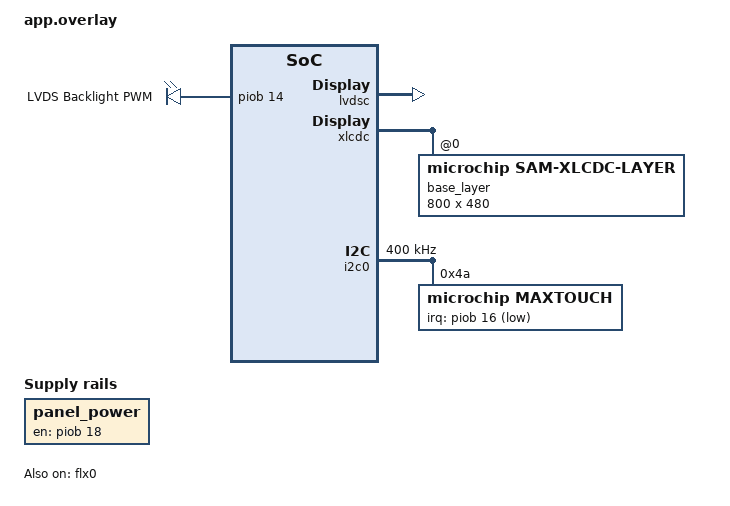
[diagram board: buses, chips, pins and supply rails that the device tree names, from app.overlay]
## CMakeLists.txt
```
target_sources(app PRIVATE src/main.c)
```

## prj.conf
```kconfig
# Enable Logging
CONFIG_LOG=y
#CONFIG_LOG_MODE_IMMEDIATE=y
CONFIG_DISPLAY_LOG_LEVEL_INF=y

# Enable Display Subsystem
CONFIG_DISPLAY=y

# Enable XLCDC driver
CONFIG_DISPLAY_MICROCHIP_SAM_XLCDC=y
CONFIG_DISPLAY_MICROCHIP_SAM_XLCDC_LAYER=y

# Enable LVDSC bridge driver
CONFIG_DISPLAY_MICROCHIP_SAM_LVDSC=y

# Kernel VM must cover heap (16MB) + kernel code/data/stacks
CONFIG_KERNEL_VM_SIZE=0x2000000

# Main thread stack for LVGL rendering (default is too small)
CONFIG_MAIN_STACK_SIZE=16384

# Enable double-buffering for tear-free display
CONFIG_MICROCHIP_SAM_XLCDC_DOUBLE_BUFFER=y

# Heap for dynamic framebuffer allocation (base layer RGB565 x 2 buffers)
CONFIG_HEAP_MEM_POOL_SIZE=4194304

# FLEXCOM MFD (sets FLEX_MR to TWI/SPI/USART mode)
CONFIG_MFD=y

# Panel power regulator (PB18 enable before touch init)
CONFIG_REGULATOR=y

# Input / Touch
CONFIG_INPUT=y
CONFIG_INPUT_MODE_SYNCHRONOUS=y

# LVGL (zero-copy: LVGL owns buffers, driver pointer-swaps DMA address)
CONFIG_LVGL=y
CONFIG_LV_Z_FULL_REFRESH=y
CONFIG_LV_Z_VDB_SIZE=100
CONFIG_LV_Z_DOUBLE_VDB=y
CONFIG_LV_Z_FLUSH_THREAD=y
CONFIG_LV_Z_MEM_POOL_SIZE=524288
CONFIG_LV_COLOR_DEPTH_16=y
CONFIG_LV_DPI_DEF=128
CONFIG_LV_FONT_MONTSERRAT_14=y
CONFIG_LV_FONT_MONTSERRAT_20=y
CONFIG_LV_FONT_MONTSERRAT_28=y
```

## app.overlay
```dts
#include <zephyr/dt-bindings/gpio/gpio.h>
#include <zephyr/dt-bindings/interrupt-controller/arm-gic.h>
#include <zephyr/dt-bindings/i2c/i2c.h>
#include <zephyr/dt-bindings/mfd/mfd_mchp_sam_flexcom.h>

&pinctrl {
    flx0_i2c_default: flx0_i2c_default {
        group1 {
            pinmux = <PIN_PC7__FLEXCOM0_IO0>,  /* SDA */
                     <PIN_PC6__FLEXCOM0_IO1>;  /* SCL */
            bias-pull-up;
        };
    };
};

&flx0 {
    mchp,flexcom-mode = <SAM_FLEXCOM_MODE_TWI>;
    status = "okay";

    i2c0: i2c0@600 {
        pinctrl-0 = <&flx0_i2c_default>;
        pinctrl-names = "default";
        clock-frequency = <I2C_BITRATE_FAST>;
        status = "okay";

        maxtouch: maxtouch@4a {
            compatible = "microchip,maxtouch";
            reg = <0x4a>;
            irq-gpios = <&piob 16 GPIO_ACTIVE_LOW>;
            screen-width = <800>;
            screen-height = <480>;
            max-touches = <5>;
            startup-delay-ms = <100>;
        };
    };
};

/ {
    chosen {
        zephyr,display = &base_layer;
        zephyr,touch = &maxtouch;
    };
    panel_power: panel-power {
        compatible = "regulator-fixed";
        regulator-name = "panel-power";
        enable-gpios = <&piob 18 GPIO_ACTIVE_HIGH>;
        regulator-boot-on;
    };

    leds {
        compatible = "gpio-leds";

        gpio_lvds_pwm: led_piob_14 {
            gpios = <&piob 14 GPIO_ACTIVE_HIGH>;
            label = "LVDS Backlight PWM";
        };
    };

    lvdsc: lvdsc@e1408000 {
        compatible = "microchip,sam-lvdsc";
        status = "okay";
        reg = <0xe1408000 0x4000>;
        dpi-input-type = "24-bit";
        dc-mode = "unbalanced";
        mapping = "jeida";
        lane-a3-bit = <0>;
        dc-bias = <9>;
        pre-emphasis-clk = <0>;
        pre-emphasis-a0 = <0>;
        pre-emphasis-a1 = <0>;
        pre-emphasis-a2 = <0>;
        pre-emphasis-a3 = <0>;
    };

    xlcdc: xlcdc@e1400000 {
        compatible = "microchip,sama7d65-xlcdc";
        status = "okay";
        reg = <0xe1400000 0x4000>;
        interrupt-parent = <&gic>;
        interrupts = <GIC_SPI 56 IRQ_TYPE_LEVEL IRQ_DEFAULT_PRIORITY>;
        #address-cells = <1>;
        #size-cells = <0>;
        width = <800>;
        height = <480>;
        pixel-format = <3>;        /* RGB_565 */
        output-mode = "dpi-24";
        guard-time = <1>;
        backlight-pwm-source = "slow-clock";
        backlight-pwm-prescaler = <0>;
        backlight-brightness = <255>;
        port = <&lvdsc>;

        display-timings {
            compatible = "zephyr,panel-timing";
            clock-frequency = <25000000>;
            hsync-len = <5>;
            hfront-porch = <88>;
            hback-porch = <40>;
            vsync-len = <5>;
            vfront-porch = <23>;
            vback-porch = <1>;
            de-active = <0>;
            hsync-active = <1>;
            vsync-active = <1>;
            pixelclk-active = <0>;
        };

        base_layer: layer-base@0 {
            compatible = "microchip,sam-xlcdc-layer";
            reg = <0>;
            layer-type = "base";
            width = <800>;
            height = <480>;
            default-color = <0 0 0>;
            no-alloc-framebuffer;
        };
    };
};
```

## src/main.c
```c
/*
 * Copyright (c) 2026 Microchip Technology Inc.
 * SPDX-License-Identifier: Apache-2.0
 *
 * LCDC POC application with two tabs:
 *   1. LVGL widget demo (button counter, arc, slider)
 *   2. Multitouch visualizer using raw input events
 */

#include <zephyr/device.h>
#include <zephyr/drivers/display.h>
#include <zephyr/drivers/gpio.h>
#include <zephyr/input/input.h>
#include <zephyr/kernel.h>
#include <zephyr/logging/log.h>

#include <lvgl.h>

LOG_MODULE_REGISTER(main_app, LOG_LEVEL_INF);

#define MAX_TOUCHES 10
#define INDICATOR_SIZE 70
#define TAB_BAR_HEIGHT 50

static const struct gpio_dt_spec lvds_pwm =
	GPIO_DT_SPEC_GET(DT_NODELABEL(gpio_lvds_pwm), gpios);

#define TOUCH_DEV DEVICE_DT_GET(DT_CHOSEN(zephyr_touch))

/* Demo tab state */

static lv_obj_t *counter_label;
static lv_obj_t *arc_obj;
static lv_obj_t *arc_label;
static uint32_t counter;

/* Touch tab state */

struct touch_point {
	int32_t x;
	int32_t y;
	bool active;
};

static struct {
	struct touch_point points[MAX_TOUCHES];
	int32_t current_slot;
	int32_t pending_x;
	int32_t pending_y;
	bool has_x;
	bool has_y;
} touch_state;

struct touch_indicator {
	lv_obj_t *circle;
	lv_obj_t *id_label;
	lv_obj_t *coord_label;
};

static struct touch_indicator indicators[MAX_TOUCHES];
static lv_obj_t *touch_tab_obj;
static lv_obj_t *count_label;
static lv_obj_t *max_label;
static lv_obj_t *hint_label;
static lv_obj_t *hold_btn;
static bool hold_mode;
static uint8_t max_touches;

static const lv_color_t slot_colors[] = {
	LV_COLOR_MAKE(231, 76, 60),   /* Red */
	LV_COLOR_MAKE(46, 204, 113),  /* Green */
	LV_COLOR_MAKE(52, 152, 219),  /* Blue */
	LV_COLOR_MAKE(241, 196, 15),  /* Yellow */
	LV_COLOR_MAKE(155, 89, 182),  /* Purple */
	LV_COLOR_MAKE(230, 126, 34),  /* Orange */
	LV_COLOR_MAKE(26, 188, 156),  /* Teal */
	LV_COLOR_MAKE(236, 240, 241), /* White */
	LV_COLOR_MAKE(52, 73, 94),    /* Dark */
	LV_COLOR_MAKE(149, 165, 166), /* Gray */
};

/* Multitouch input event callback */

static void touch_input_cb(struct input_event *evt, void *user_data)
{
	ARG_UNUSED(user_data);

	switch (evt->type) {
	case INPUT_EV_ABS:
		switch (evt->code) {
		case INPUT_ABS_MT_SLOT:
			if (evt->value >= 0 && evt->value < MAX_TOUCHES) {
				touch_state.current_slot = evt->value;
			}
			touch_state.has_x = false;
			touch_state.has_y = false;
			break;
		case INPUT_ABS_X:
			touch_state.pending_x = evt->value;
			touch_state.has_x = true;
			break;
		case INPUT_ABS_Y:
			touch_state.pending_y = evt->value;
			touch_state.has_y = true;
			break;
		default:
			break;
		}
		break;

	case INPUT_EV_KEY:
		if (evt->code == INPUT_BTN_TOUCH) {
			int32_t slot = touch_state.current_slot;

			if (slot < 0 || slot >= MAX_TOUCHES) {
				break;
			}

			if (evt->value) {
				if (touch_state.has_x) {
					touch_state.points[slot].x =
						touch_state.pending_x;
				}
				if (touch_state.has_y) {
					touch_state.points[slot].y =
						touch_state.pending_y;
				}
				touch_state.points[slot].active = true;
			} else {
				touch_state.points[slot].active = false;
			}
		}
		break;

	default:
		break;
	}
}

INPUT_CALLBACK_DEFINE(TOUCH_DEV, touch_input_cb, NULL);

/* Demo tab */

static void btn_event_cb(lv_event_t *e)
{
	counter++;
	lv_label_set_text_fmt(counter_label, "Count: %u", counter);
}

static void arc_event_cb(lv_event_t *e)
{
	int32_t val = lv_arc_get_value(arc_obj);

	lv_label_set_text_fmt(arc_label, "%d%%", val);
	lv_obj_align_to(arc_label, arc_obj, LV_ALIGN_CENTER, 0, 0);
}

static void create_demo_tab(lv_obj_t *parent)
{
	/* Title label */
	lv_obj_t *title = lv_label_create(parent);

	lv_label_set_text(title, "LVGL on Zephyr");
	lv_obj_set_style_text_font(title, &lv_font_montserrat_28, 0);
	lv_obj_align(title, LV_ALIGN_TOP_MID, 0, 10);

	/* Info label */
	lv_obj_t *info = lv_label_create(parent);

	lv_label_set_text(info,
			  "SAMA7D65 Curiosity Kit with AC69T88A LVDS Display");
	lv_obj_set_style_text_font(info, &lv_font_montserrat_14, 0);
	lv_obj_align(info, LV_ALIGN_TOP_MID, 0, 48);

	/* Counter button */
	lv_obj_t *btn = lv_btn_create(parent);

	lv_obj_set_size(btn, 200, 60);
	lv_obj_align(btn, LV_ALIGN_CENTER, 0, -20);
	lv_obj_add_event_cb(btn, btn_event_cb, LV_EVENT_CLICKED, NULL);

	lv_obj_t *btn_label = lv_label_create(btn);

	lv_label_set_text(btn_label, "Tap Me");
	lv_obj_set_style_text_font(btn_label, &lv_font_montserrat_20, 0);
	lv_obj_center(btn_label);

	/* Counter display */
	counter_label = lv_label_create(parent);
	lv_label_set_text(counter_label, "Count: 0");
	lv_obj_set_style_text_font(counter_label, &lv_font_montserrat_20, 0);
	lv_obj_align(counter_label, LV_ALIGN_CENTER, 0, 30);

	/* Arc widget */
	arc_obj = lv_arc_create(parent);
	lv_arc_set_range(arc_obj, 0, 100);
	lv_arc_set_value(arc_obj, 70);
	lv_obj_set_size(arc_obj, 180, 180);
	lv_obj_set_ext_click_area(arc_obj, 20);
	lv_obj_align(arc_obj, LV_ALIGN_BOTTOM_LEFT, 40, -20);
	lv_obj_add_event_cb(arc_obj, arc_event_cb,
			    LV_EVENT_VALUE_CHANGED, NULL);

	/* Arc percentage label */
	arc_label = lv_label_create(parent);
	lv_label_set_text(arc_label, "70%");
	lv_obj_set_style_text_font(arc_label, &lv_font_montserrat_20, 0);
	lv_obj_align_to(arc_label, arc_obj, LV_ALIGN_CENTER, 0, 0);

	/* Brightness slider */
	lv_obj_t *slider = lv_slider_create(parent);

	lv_slider_set_range(slider, 0, 255);
	lv_slider_set_value(slider, 128, LV_ANIM_OFF);
	lv_obj_set_width(slider, 280);
	lv_obj_set_ext_click_area(slider, 20);

	lv_obj_update_layout(parent);
	int32_t arc_cy = lv_obj_get_y(arc_obj) +
			 lv_obj_get_height(arc_obj) / 2;
	int32_t slider_h = lv_obj_get_height(slider);
	int32_t parent_cw = lv_obj_get_content_width(parent);

	lv_obj_set_pos(slider,
		       parent_cw - 40 - 280,
		       arc_cy - slider_h / 2);

	lv_obj_t *slider_label = lv_label_create(parent);

	lv_label_set_text(slider_label, "Brightness");
	lv_obj_set_style_text_font(slider_label, &lv_font_montserrat_14, 0);
	lv_obj_align_to(slider_label, slider, LV_ALIGN_OUT_BOTTOM_MID,
			0, 8);
}

/* Touch tab */

static void hold_btn_cb(lv_event_t *e)
{
	hold_mode = !hold_mode;

	lv_obj_t *label = lv_obj_get_child(hold_btn, 0);

	if (hold_mode) {
		lv_label_set_text(label, "Hold: ON");
	} else {
		lv_label_set_text(label, "Hold: OFF");
		max_touches = 0;
	}
}

static void create_touch_tab(lv_obj_t *parent)
{
	touch_tab_obj = parent;
	lv_obj_set_style_pad_all(parent, 0, 0);

	/* Title */
	lv_obj_t *title = lv_label_create(parent);

	lv_label_set_text(title, "Multitouch Test");
	lv_obj_set_style_text_font(title, &lv_font_montserrat_28, 0);
	lv_obj_align(title, LV_ALIGN_TOP_MID, 0, 10);

	/* Touch count labels */
	count_label = lv_label_create(parent);
	lv_label_set_text(count_label, "Active: 0");
	lv_obj_set_style_text_font(count_label, &lv_font_montserrat_20, 0);
	lv_obj_align(count_label, LV_ALIGN_TOP_MID, -60, 45);

	max_label = lv_label_create(parent);
	lv_label_set_text(max_label, "Max: 0");
	lv_obj_set_style_text_font(max_label, &lv_font_montserrat_20, 0);
	lv_obj_align(max_label, LV_ALIGN_TOP_MID, 60, 45);

	/* Hint */
	hint_label = lv_label_create(parent);
	lv_label_set_text(hint_label, "Touch the screen with 1..10 fingers");
	lv_obj_set_style_text_font(hint_label, &lv_font_montserrat_14, 0);
	lv_obj_set_style_text_opa(hint_label, LV_OPA_50, 0);
	lv_obj_align(hint_label, LV_ALIGN_TOP_MID, 0, 72);

	/* Hold toggle button */
	hold_btn = lv_btn_create(parent);
	lv_obj_set_size(hold_btn, 120, 40);
	lv_obj_align(hold_btn, LV_ALIGN_BOTTOM_MID, 0, -10);
	lv_obj_add_event_cb(hold_btn, hold_btn_cb, LV_EVENT_CLICKED, NULL);

	lv_obj_t *btn_label = lv_label_create(hold_btn);

	lv_label_set_text(btn_label, "Hold: OFF");
	lv_obj_center(btn_label);

	/* Pre-allocate indicator objects for each slot */
	for (int i = 0; i < MAX_TOUCHES; i++) {
		struct touch_indicator *ind = &indicators[i];

		ind->circle = lv_obj_create(parent);
		lv_obj_set_size(ind->circle, INDICATOR_SIZE, INDICATOR_SIZE);
		lv_obj_set_style_radius(ind->circle, LV_RADIUS_CIRCLE, 0);
		lv_obj_set_style_bg_color(ind->circle, slot_colors[i], 0);
		lv_obj_set_style_bg_opa(ind->circle, LV_OPA_80, 0);
		lv_obj_set_style_border_color(ind->circle,
					      lv_color_white(), 0);
		lv_obj_set_style_border_width(ind->circle, 2, 0);
		lv_obj_clear_flag(ind->circle,
				  LV_OBJ_FLAG_CLICKABLE |
				  LV_OBJ_FLAG_SCROLLABLE);
		lv_obj_add_flag(ind->circle, LV_OBJ_FLAG_HIDDEN);

		ind->id_label = lv_label_create(ind->circle);
		lv_label_set_text_fmt(ind->id_label, "%d", i);
		lv_obj_set_style_text_font(ind->id_label,
					   &lv_font_montserrat_20, 0);
		lv_obj_align(ind->id_label, LV_ALIGN_CENTER, 0, -8);

		ind->coord_label = lv_label_create(ind->circle);
		lv_label_set_text(ind->coord_label, "");
		lv_obj_set_style_text_font(ind->coord_label,
					   &lv_font_montserrat_14, 0);
		lv_obj_align(ind->coord_label, LV_ALIGN_CENTER, 0, 12);
	}
}

/* UI creation and update */

static void create_ui(void)
{
	lv_display_t *disp = lv_display_get_default();

	lv_theme_default_init(disp,
			      lv_palette_main(LV_PALETTE_BLUE),
			      lv_palette_main(LV_PALETTE_CYAN),
			      true, &lv_font_montserrat_14);

	lv_obj_t *scr = lv_screen_active();

	/* Tabview */
	lv_obj_t *tv = lv_tabview_create(scr);

	lv_tabview_set_tab_bar_size(tv, TAB_BAR_HEIGHT);
	lv_obj_set_size(tv, LV_PCT(100), LV_PCT(100));

	/* Disable scrolling on the content pager and tabs */
	lv_obj_t *content = lv_tabview_get_content(tv);

	lv_obj_clear_flag(content, LV_OBJ_FLAG_SCROLLABLE);
	lv_obj_t *tab_demo = lv_tabview_add_tab(tv, "Demo");
	lv_obj_t *tab_touch = lv_tabview_add_tab(tv, "Touch Test");

	lv_obj_clear_flag(tab_demo, LV_OBJ_FLAG_SCROLLABLE);
	lv_obj_clear_flag(tab_touch, LV_OBJ_FLAG_SCROLLABLE);

	create_demo_tab(tab_demo);
	create_touch_tab(tab_touch);

	LOG_INF("UI created");
}

static void update_touch_indicators(void)
{
	lv_area_t tab_area;

	lv_obj_get_coords(touch_tab_obj, &tab_area);
	int32_t off_x = tab_area.x1;
	int32_t off_y = tab_area.y1;

	uint8_t active_count = 0;

	for (int i = 0; i < MAX_TOUCHES; i++) {
		struct touch_indicator *ind = &indicators[i];

		if (touch_state.points[i].active) {
			int32_t x = touch_state.points[i].x;
			int32_t y = touch_state.points[i].y;

			lv_obj_set_pos(ind->circle,
				       x - off_x - INDICATOR_SIZE / 2,
				       y - off_y - INDICATOR_SIZE / 2);
			lv_label_set_text_fmt(ind->coord_label,
					      "%d,%d", x, y);
			lv_obj_clear_flag(ind->circle, LV_OBJ_FLAG_HIDDEN);
			active_count++;
		} else if (!hold_mode) {
			lv_obj_add_flag(ind->circle, LV_OBJ_FLAG_HIDDEN);
		}
	}

	if (active_count > max_touches) {
		max_touches = active_count;
	}

	lv_label_set_text_fmt(count_label, "Active: %u", active_count);
	lv_label_set_text_fmt(max_label, "Max: %u", max_touches);

	if (active_count > 0) {
		lv_obj_add_flag(hint_label, LV_OBJ_FLAG_HIDDEN);
	} else if (!hold_mode) {
		lv_obj_clear_flag(hint_label, LV_OBJ_FLAG_HIDDEN);
	}
}

int main(void)
{
	int ret;

	LOG_INF("Setting up GPIOs...");

	if (!gpio_is_ready_dt(&lvds_pwm)) {
		LOG_ERR("GPIO not ready");
		return -ENODEV;
	}

	ret = gpio_pin_configure_dt(&lvds_pwm, GPIO_OUTPUT_ACTIVE);
	if (ret < 0) {
		return ret;
	}

	LOG_INF("LCDC POC Demo");

	const struct device *display_dev =
		DEVICE_DT_GET(DT_CHOSEN(zephyr_display));

	if (!device_is_ready(display_dev)) {
		LOG_ERR("Display device not ready");
		return -ENODEV;
	}

	if (!device_is_ready(TOUCH_DEV)) {
		LOG_ERR("Touch device not ready");
		return -ENODEV;
	}

	create_ui();

	display_blanking_off(display_dev);

	int64_t last_tick = k_uptime_get();

	while (1) {
		/* Auto-increment counter every second */
		int64_t now = k_uptime_get();

		if ((now - last_tick) >= 1000) {
			last_tick = now;
			counter++;
			lv_label_set_text_fmt(counter_label, "Count: %u",
					      counter);
		}

		update_touch_indicators();
		lv_timer_handler();
		k_sleep(K_MSEC(LV_DEF_REFR_PERIOD));
	}

	return 0;
}
```
